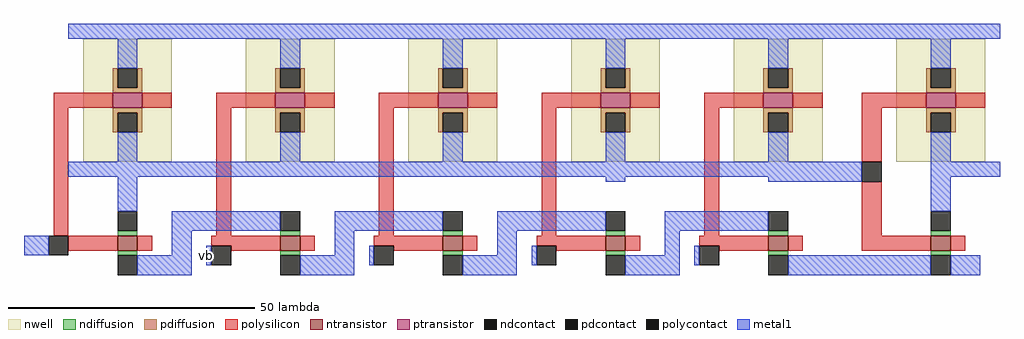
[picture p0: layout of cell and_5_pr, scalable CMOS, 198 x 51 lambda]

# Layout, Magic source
magic
tech scmos
<< nwell >>
rect -30 -7 -12 18
rect 3 -7 21 18
rect 36 -7 54 18
rect 69 -7 87 18
rect 102 -7 120 18
rect 135 -7 153 18
<< ntransistor >>
rect -23 -25 -19 -22
rect 10 -25 14 -22
rect 43 -25 47 -22
rect 76 -25 80 -22
rect 109 -25 113 -22
rect 142 -25 146 -22
<< ptransistor >>
rect -24 4 -18 7
rect 9 4 15 7
rect 42 4 48 7
rect 75 4 81 7
rect 108 4 114 7
rect 141 4 147 7
<< ndiffusion >>
rect -23 -22 -19 -21
rect 10 -22 14 -21
rect 43 -22 47 -21
rect 76 -22 80 -21
rect 109 -22 113 -21
rect 142 -22 146 -21
rect -23 -26 -19 -25
rect 10 -26 14 -25
rect 43 -26 47 -25
rect 76 -26 80 -25
rect 109 -26 113 -25
rect 142 -26 146 -25
<< pdiffusion >>
rect -24 8 -23 12
rect -19 8 -18 12
rect -24 7 -18 8
rect 9 8 10 12
rect 14 8 15 12
rect 9 7 15 8
rect 42 8 43 12
rect 47 8 48 12
rect 42 7 48 8
rect 75 8 76 12
rect 80 8 81 12
rect 75 7 81 8
rect 108 8 109 12
rect 113 8 114 12
rect 108 7 114 8
rect 141 8 142 12
rect 146 8 147 12
rect 141 7 147 8
rect -24 3 -18 4
rect -24 -1 -23 3
rect -19 -1 -18 3
rect 9 3 15 4
rect 9 -1 10 3
rect 14 -1 15 3
rect 42 3 48 4
rect 42 -1 43 3
rect 47 -1 48 3
rect 75 3 81 4
rect 75 -1 76 3
rect 80 -1 81 3
rect 108 3 114 4
rect 108 -1 109 3
rect 113 -1 114 3
rect 141 3 147 4
rect 141 -1 142 3
rect 146 -1 147 3
<< ndcontact >>
rect -23 -21 -19 -17
rect 10 -21 14 -17
rect 43 -21 47 -17
rect 76 -21 80 -17
rect 109 -21 113 -17
rect 142 -21 146 -17
rect -23 -30 -19 -26
rect 10 -30 14 -26
rect 43 -30 47 -26
rect 76 -30 80 -26
rect 109 -30 113 -26
rect 142 -30 146 -26
<< pdcontact >>
rect -23 8 -19 12
rect 10 8 14 12
rect 43 8 47 12
rect 76 8 80 12
rect 109 8 113 12
rect 142 8 146 12
rect -23 -1 -19 3
rect 10 -1 14 3
rect 43 -1 47 3
rect 76 -1 80 3
rect 109 -1 113 3
rect 142 -1 146 3
<< polysilicon >>
rect -36 4 -24 7
rect -18 4 -12 7
rect -3 4 9 7
rect 15 4 21 7
rect 30 4 42 7
rect 48 4 54 7
rect 63 4 75 7
rect 81 4 87 7
rect 96 4 108 7
rect 114 4 120 7
rect 128 4 141 7
rect 147 4 153 7
rect -36 -22 -33 4
rect -3 -22 0 4
rect 30 -22 33 4
rect 63 -22 66 4
rect 96 -22 99 4
rect 128 -7 132 4
rect 128 -22 132 -11
rect -33 -25 -23 -22
rect -19 -25 -16 -22
rect -4 -24 10 -22
rect 0 -25 10 -24
rect 14 -25 17 -22
rect 29 -24 43 -22
rect 33 -25 43 -24
rect 47 -25 50 -22
rect 62 -24 76 -22
rect 66 -25 76 -24
rect 80 -25 83 -22
rect 95 -24 109 -22
rect 99 -25 109 -24
rect 113 -25 116 -22
rect 128 -25 142 -22
rect 146 -25 149 -22
<< polycontact >>
rect 128 -11 132 -7
rect -37 -26 -33 -22
rect -4 -28 0 -24
rect 29 -28 33 -24
rect 62 -28 66 -24
rect 95 -28 99 -24
<< metal1 >>
rect -33 18 156 21
rect -23 12 -19 18
rect 10 12 14 18
rect 43 12 47 18
rect 76 12 80 18
rect 109 12 113 18
rect 142 12 146 18
rect -23 -7 -19 -1
rect 10 -7 14 -1
rect 43 -7 47 -1
rect 76 -7 80 -1
rect 109 -7 113 -1
rect 142 -7 146 -1
rect -33 -10 128 -7
rect -23 -17 -19 -10
rect 76 -11 80 -10
rect 109 -11 128 -10
rect 142 -10 156 -7
rect 142 -17 146 -10
rect -12 -21 10 -17
rect 21 -21 43 -17
rect 54 -21 76 -17
rect 88 -21 109 -17
rect -42 -26 -37 -22
rect -12 -26 -8 -21
rect -19 -30 -8 -26
rect -5 -28 -4 -24
rect 21 -26 25 -21
rect 14 -30 25 -26
rect 28 -28 29 -24
rect 54 -26 58 -21
rect 47 -30 58 -26
rect 61 -28 62 -24
rect 88 -26 91 -21
rect 80 -30 91 -26
rect 94 -28 95 -24
rect 113 -30 142 -26
rect 146 -30 152 -26
<< labels >>
rlabel metal1 -5 -26 -5 -26 1 vb
<< end >>
